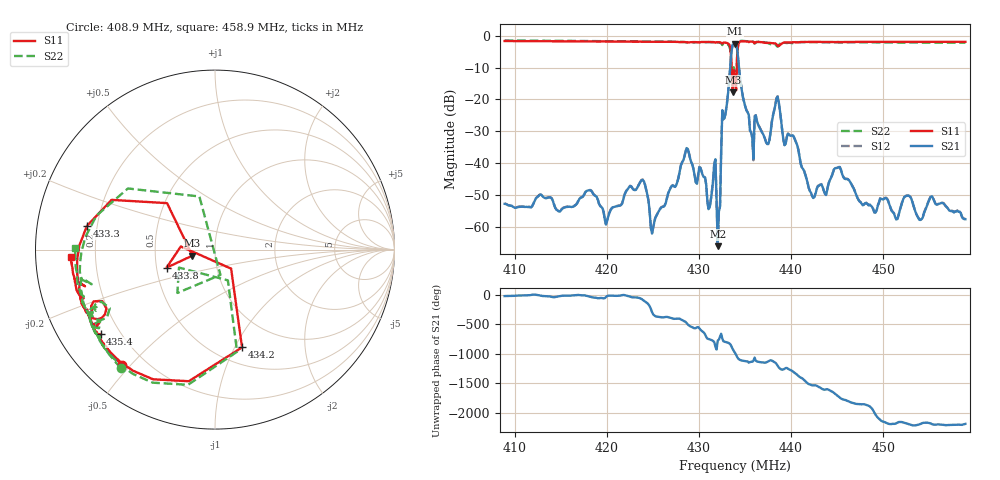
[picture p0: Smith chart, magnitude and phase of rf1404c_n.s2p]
!HP8753
# HZ S RI R 50
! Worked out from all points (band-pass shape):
!   401 points, 408.9 MHz to 458.9 MHz, reference 50 ohm
!   highest |S21| = -2.54 dB at 433.9 MHz (marker M1); lowest = -66.1 dB at 432 MHz (marker M2)
!   |S21| within 3 dB of the highest: 433.5237 MHz to 434.2041 MHz (680.4 kHz wide, 0.157 % of centre)
!   lowest |S11| = -17.7 dB at 433.7 MHz (marker M3), VSWR 1.30, Z = 38.8 - j2.65 ohm
!   |S11| at or under -10 dB: 433.5643 MHz to 434.1182 MHz (553.9 kHz wide, 0.128 % of centre)
!   |S22| runs from -16.8 to -1.5 dB; largest |S21 - S12| = 0.021
!   S11 on the Smith chart (normalised r, x): 408.9 MHz: 0.12, -0.47; 433.3 MHz: 0.16, +0.09; 433.8 MHz: 0.56, -0.12; 434.2 MHz: 0.67, -1.07; 435.4 MHz: 0.13, -0.32; 458.9 MHz: 0.11, -0.03
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4.0892e8  -0.5167 -0.6436  0.00212 -0.000896  0.00216 -0.000895  -0.5242 -0.6596
4.17295e8  -0.5989 -0.5522  0.00285 -0.000497  0.0029 -0.000501  -0.6023 -0.566
4.20045e8  -0.624 -0.5201  0.00115 -0.000469  0.00118 -0.000479  -0.6253 -0.5325
4.23795e8  -0.6567 -0.4655  0.00155 -0.00519  0.00151 -0.00527  -0.6575 -0.4755
4.2492e8  -0.6661 -0.4539  0.000339 0.000709  0.000369 0.000719  -0.6672 -0.4604
4.2567e8  -0.6754 -0.4406  0.00172 -0.000458  0.00173 -0.000489  -0.6748 -0.4482
4.2867e8  -0.6922 -0.3734  -0.0082 -0.0152  -0.00858 -0.0152  -0.6908 -0.3753
4.3117e8  -0.7346 -0.3102  0.00167 -0.00113  0.00171 -0.00115  -0.7309 -0.3049
4.3167e8  -0.7416 -0.2707  0.00104 -0.00958  0.000765 -0.00998  -0.7367 -0.2646
4.32045e8  -0.7498 -0.2513  0.00029 -0.000404  0.000357 -0.00044  -0.7449 -0.2356
4.33295e8  -0.7137 0.1315  -0.0414 -0.196  -0.0443 -0.2  -0.6606 0.1891
4.3367e8  -0.1256 -0.0336  -0.6892 0.2293  -0.6958 0.2495  0.0304 -0.1409
4.33795e8  -0.2702 -0.1007  -0.4292 0.5785  -0.422 0.5951  -0.2097 -0.2415
4.3392e8  -0.1903 0.0174  -0.0869 0.7415  -0.0701 0.7535  -0.2006 -0.1002
4.3417e8  0.1507 -0.5448  0.5518 0.2229  0.5515 0.2073  0.1229 -0.5693
4.3542e8  -0.6377 -0.4703  0.0203 -0.0534  0.0188 -0.0531  -0.6384 -0.4766
4.3742e8  -0.6857 -0.3561  0.011 -0.0166  0.0111 -0.0167  -0.6969 -0.3381
4.38545e8  -0.6281 -0.2871  -0.0569 -0.0955  -0.0598 -0.0949  -0.5859 -0.3264
4.42295e8  -0.7398 -0.3074  -0.000143 -0.00302  -0.00015 -0.00302  -0.7369 -0.2985
4.45045e8  -0.7546 -0.2558  -0.000421 0.00843  -0.000315 0.00853  -0.7504 -0.2395
4.5067e8  -0.783 -0.1655  0.00201 -0.00099  0.00201 -0.000995  -0.7712 -0.1355
4.5892e8  -0.802 -0.0427  0.0012 -0.00054  0.00123 -0.000538  -0.7772 0.0106
